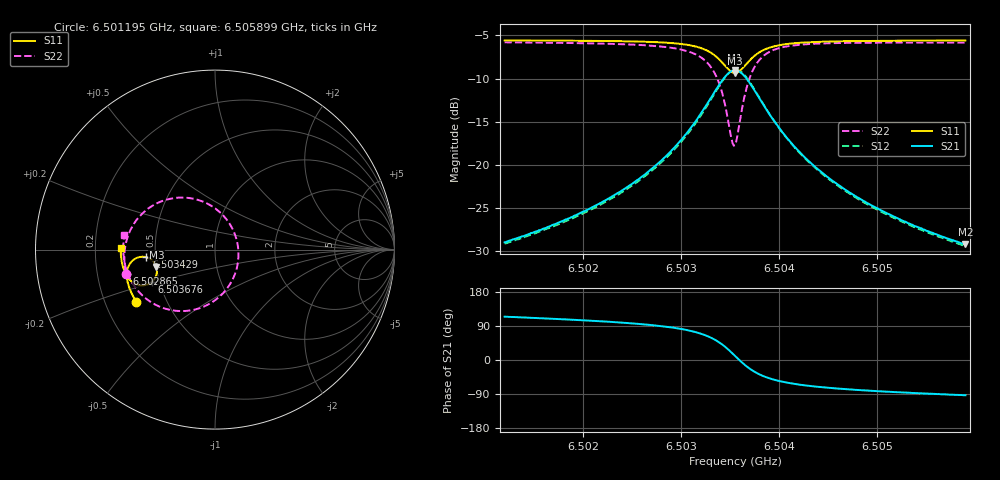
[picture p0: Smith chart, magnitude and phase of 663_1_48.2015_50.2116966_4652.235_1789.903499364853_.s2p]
#  HZ  S  RI  R  50.00
! Rohde & Schwarz Vector Network Analyzer
! Rohde-Schwarz,ZNB20-2Port,1311601062101988,3.16
! Created: UTC 3/20/2024, 12:05:48 PM
! freq[Hz]  re:S11  im:S11  re:S21  im:S21  re:S12  im:S12  re:S22  im:S22
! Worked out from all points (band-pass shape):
!   401 points, 6.501195 GHz to 6.505899 GHz, reference 50 ohm
!   highest |S21| = -9.03 dB at 6.503547 GHz (marker M1); lowest = -29.2 dB at 6.505899 GHz (marker M2)
!   |S21| within 3 dB of the highest: 6.503312 GHz to 6.503783 GHz (470.8 kHz wide, 0.00724 % of centre)
!   lowest |S11| = -9.3 dB at 6.503547 GHz (marker M3), VSWR 2.03, Z = 25 - j5.48 ohm
!   |S11| at or under -10 dB: nowhere
!   |S22| runs from -17.8 to -5.8 dB; largest |S21 - S12| = 0.014
!   S11 on the Smith chart (normalised r, x): 6.501195 GHz: 0.34, -0.27; 6.502865 GHz: 0.33, -0.12; 6.503429 GHz: 0.45, -0.04; 6.503676 GHz: 0.46, -0.19; 6.505899 GHz: 0.31, +0.01
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6.5011952e9  -0.4382 -0.2913  -0.0148 0.0325  -0.0127 0.0328  -0.4958 -0.1336
6.501983e9  -0.4701 -0.231  -0.0137 0.0514  -0.011 0.0509  -0.5052 -0.0457
6.5023946e9  -0.4836 -0.1932  -0.0106 0.0705  -0.0073 0.0693  -0.5004 0.0159
6.5027709e9  -0.4913 -0.1496  -0.00029 0.1032  0.00392 0.1007  -0.4769 0.0964
6.502865e9  -0.4914 -0.1362  0.00574 0.1158  0.0101 0.1125  -0.464 0.1231
6.5030649e9  -0.4855 -0.1016  0.0309 0.1525  0.0351 0.1476  -0.4118 0.194
6.503206e9  -0.4687 -0.0712  0.0727 0.1875  0.076 0.1811  -0.3312 0.2542
6.5033354e9  -0.4309 -0.0444  0.1531 0.2137  0.1543 0.2066  -0.1851 0.29
6.5034294e9  -0.3825 -0.0425  0.248 0.1956  0.2487 0.1901  -0.0205 0.2439
6.5035117e9  -0.338 -0.0737  0.3291 0.1177  0.332 0.1122  0.109 0.0898
6.503547e9  -0.3269 -0.097  0.3472 0.0668  0.3511 0.06  0.1304 -0.00592
6.5035705e9  -0.3237 -0.114  0.3506 0.0307  0.355 0.0225  0.1277 -0.0722
6.5036058e9  -0.3261 -0.1393  0.3425 -0.0216  0.3464 -0.032  0.0988 -0.1651
6.5036764e9  -0.3495 -0.1781  0.2934 -0.1008  0.2933 -0.114  -0.0167 -0.2938
6.5037705e9  -0.3922 -0.1987  0.2119 -0.1455  0.2061 -0.1572  -0.1835 -0.3426
6.503841e9  -0.4193 -0.1985  0.1621 -0.1509  0.1545 -0.1599  -0.2765 -0.3293
6.5039233e9  -0.4432 -0.1912  0.12 -0.1446  0.1118 -0.1507  -0.3507 -0.2965
6.504088e9  -0.473 -0.1701  0.0701 -0.1225  0.0627 -0.1254  -0.4315 -0.2267
6.5043349e9  -0.4959 -0.1387  0.0358 -0.0945  0.0304 -0.0951  -0.4811 -0.1467
6.5046642e9  -0.5108 -0.1026  0.0168 -0.0704  0.0128 -0.0703  -0.5037 -0.0741
6.5051228e9  -0.5208 -0.0588  0.00556 -0.0515  0.0029 -0.0508  -0.5113 -0.00405
6.5058989e9  -0.526 0.00791  -0.00185 -0.0347  -0.00337 -0.0338  -0.5048 0.082
